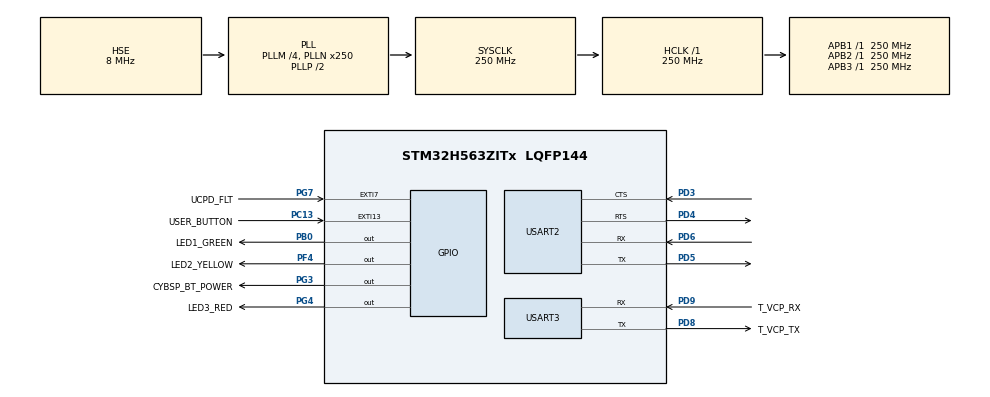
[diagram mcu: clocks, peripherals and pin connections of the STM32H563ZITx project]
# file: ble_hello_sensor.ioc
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CORTEX_M33_NS.userName=CORTEX_M33
GPDMA1.DESTINC_GPDMACH6=DMA_DINC_INCREMENTED
GPDMA1.DIRECTION_GPDMACH7=DMA_MEMORY_TO_PERIPH
GPDMA1.IPHANDLE_GPDMACH6-SIMPLEREQUEST_GPDMACH6=__NULL
GPDMA1.IPHANDLE_GPDMACH7-SIMPLEREQUEST_GPDMACH7=__NULL
GPDMA1.REQUEST_GPDMACH6=GPDMA1_REQUEST_USART2_RX
GPDMA1.REQUEST_GPDMACH7=GPDMA1_REQUEST_USART2_TX
GPDMA1.SRCINC_GPDMACH7=DMA_SINC_INCREMENTED
Infineon.AIROC-Wi-Fi-Bluetooth-STM32.1.8.0.CYBSP_BT_POWER=PG3
Infineon.AIROC-Wi-Fi-Bluetooth-STM32.1.8.0.CYBSP_BT_UART_CTS=PD3
Infineon.AIROC-Wi-Fi-Bluetooth-STM32.1.8.0.CYBSP_BT_UART_RTS=PD4
Infineon.AIROC-Wi-Fi-Bluetooth-STM32.1.8.0.CYBSP_BT_UART_RX=PD6
Infineon.AIROC-Wi-Fi-Bluetooth-STM32.1.8.0.CYBSP_BT_UART_TX=PD5
Infineon.AIROC-Wi-Fi-Bluetooth-STM32.1.8.0.ConnectivityCcWirelessJjBluetoothJjbtstack=BLEIiHARDFP
Infineon.AIROC-Wi-Fi-Bluetooth-STM32.1.8.0.ConnectivityCcWirelessJjBluetoothJjbtstackAaintegration=true
Infineon.AIROC-Wi-Fi-Bluetooth-STM32.1.8.0.ConnectivityCcWirelessJjPlatformJjabstractionAartos=FreeRTOS
Infineon.AIROC-Wi-Fi-Bluetooth-STM32.1.8.0.ConnectivityCcWirelessJjPlatformJjdevice=CYW43012
Infineon.AIROC-Wi-Fi-Bluetooth-STM32.1.8.0.ConnectivityCcWirelessJjPlatformJjmodule=MURATAAa1LV
Infineon.AIROC-Wi-Fi-Bluetooth-STM32.1.8.0.ConnectivityCcWirelessJjPlatformJjpal=true
Infineon.AIROC-Wi-Fi-Bluetooth-STM32.1.8.0.MiddlewareCcRTOSJjFreeRTOSJjcore=true
Infineon.AIROC-Wi-Fi-Bluetooth-STM32.1.8.0.MiddlewareCcRTOSJjFreeRTOSJjheap=HeapIi4
Mcu.Family=STM32H5
Mcu.Name=STM32H563ZITx
Mcu.Package=LQFP144
NVIC.GPDMA1_Channel6_IRQn=true\:7\:0\:true\:false\:true\:true\:false\:true\:true
NVIC.GPDMA1_Channel7_IRQn=true\:7\:0\:true\:false\:true\:true\:false\:true\:true
NVIC.LPTIM1_IRQn=true\:7\:0\:true\:false\:true\:false\:true\:true\:true
NVIC.PriorityGroup=NVIC_PRIORITYGROUP_4
NVIC.TIM6_IRQn=true\:15\:0\:false\:false\:true\:false\:false\:true\:true
NVIC.TimeBase=TIM6_IRQn
NVIC.TimeBaseIP=TIM6
NVIC.USART2_IRQn=true\:7\:0\:true\:false\:true\:false\:true\:true\:true
PA1.GPIO_Label=RMII_REF_CLK
PA1.GPIO_Mode=GPIO_MODE_AF_PP
PA1.GPIO_PuPd=GPIO_NOPULL
PA1.GPIO_Speed=GPIO_SPEED_FREQ_LOW
PA1.Signal=ETH_REF_CLK
PA11.GPIO_Label=USB_FS_N
PA11.Signal=USB_DM
PA12.GPIO_Label=USB_FS_P
PA12.Signal=USB_DP
PA13(JTMS/SWDIO).GPIO_Label=SWDIO
PA13(JTMS/SWDIO).Mode=Trace_Synchro_4bits_JTAG
PA13(JTMS/SWDIO).Signal=DEBUG_JTMS-SWDIO
PA14(JTCK/SWCLK).GPIO_Label=SWCLK
PA14(JTCK/SWCLK).Mode=Trace_Synchro_4bits_JTAG
PA14(JTCK/SWCLK).Signal=DEBUG_JTCK-SWCLK
PA15(JTDI).GPIO_Label=T_JTDI
PA15(JTDI).Mode=Trace_Synchro_4bits_JTAG
PA15(JTDI).Signal=DEBUG_JTDI
PA2.GPIO_Label=RMII_MDIO
PA2.GPIO_Mode=GPIO_MODE_AF_PP
PA2.GPIO_PuPd=GPIO_NOPULL
PA2.GPIO_Speed=GPIO_SPEED_FREQ_LOW
PA2.Signal=ETH_MDIO
PA4.GPIO_Label=VBUS_SENSE
PA4.Signal=ADCx_INP18
PA7.GPIO_Label=RMII_CRS_DV
PA7.GPIO_Mode=GPIO_MODE_AF_PP
PA7.GPIO_PuPd=GPIO_NOPULL
PA7.GPIO_Speed=GPIO_SPEED_FREQ_LOW
PA7.Signal=ETH_CRS_DV
PA9.GPIO_Label=UCPD_DBn
PA9.Signal=UCPD1_DB1
PB0.GPIO_Label=LED1_GREEN
PB0.Signal=GPIO_Output
PB13.GPIO_Label=UCPD_CC1
PB13.Signal=UCPD1_CC1
PB14.GPIO_Label=UCPD_CC2
PB14.Signal=UCPD1_CC2
PB15.GPIO_Label=RMII_TXD1
PB15.GPIO_Mode=GPIO_MODE_AF_PP
PB15.GPIO_PuPd=GPIO_NOPULL
PB15.GPIO_Speed=GPIO_SPEED_FREQ_LOW
PB15.Signal=ETH_TXD1
PB3(JTDO/TRACESWO).GPIO_Label=SWO
PB3(JTDO/TRACESWO).Mode=Trace_Synchro_4bits_JTAG
PB3(JTDO/TRACESWO).Signal=DEBUG_JTDO-SWO
PB6.GPIO_Label=ARD_D1_TX
PB6.Signal=LPUART1_TX
PB7.GPIO_Label=ARD_D0_RX
PB7.Signal=LPUART1_RX
PC1.GPIO_Label=RMII_MDC
PC1.GPIO_Mode=GPIO_MODE_AF_PP
PC1.GPIO_PuPd=GPIO_NOPULL
PC1.GPIO_Speed=GPIO_SPEED_FREQ_LOW
PC1.Signal=ETH_MDC
PC13.GPIO_Label=USER_BUTTON
PC13.Signal=GPXTI13
PC14-OSC32_IN(OSC32_IN).Mode=LSE-External-Oscillator
PC14-OSC32_IN(OSC32_IN).Signal=RCC_OSC32_IN
PC15-OSC32_OUT(OSC32_OUT).Mode=LSE-External-Oscillator
PC15-OSC32_OUT(OSC32_OUT).Signal=RCC_OSC32_OUT
PC4.GPIO_Label=RMII_RXD0
PC4.GPIO_Mode=GPIO_MODE_AF_PP
PC4.GPIO_PuPd=GPIO_NOPULL
PC4.GPIO_Speed=GPIO_SPEED_FREQ_LOW
PC4.Signal=ETH_RXD0
PC5.GPIO_Label=RMII_RXD1
PC5.GPIO_Mode=GPIO_MODE_AF_PP
PC5.GPIO_PuPd=GPIO_NOPULL
PC5.GPIO_Speed=GPIO_SPEED_FREQ_LOW
PC5.Signal=ETH_RXD1
PD2.Signal=SDMMC1_CMD
PD3.Mode=CTS_RTS
PD3.Signal=USART2_CTS
PD4.Mode=CTS_RTS
PD4.Signal=USART2_RTS
PD5.Mode=Asynchronous
PD5.Signal=USART2_TX
PD6.Mode=Asynchronous
PD6.Signal=USART2_RX
PD8.GPIO_Label=T_VCP_TX
PD8.Mode=Asynchronous
PD8.Signal=USART3_TX
PD9.GPIO_Label=T_VCP_RX
PD9.Mode=Asynchronous
PD9.Signal=USART3_RX
PE2.GPIO_Label=TRACE_CK
PE2.Mode=Trace_Synchro_4bits_JTAG
PE2.Signal=DEBUG_TRACECLK
PE3.GPIO_Label=TRACE_D0
PE3.Mode=Trace_Synchro_4bits_JTAG
PE3.Signal=DEBUG_TRACED0
PE4.GPIO_Label=TRACE_D1
PE4.Mode=Trace_Synchro_4bits_JTAG
PE4.Signal=DEBUG_TRACED1
PE5.GPIO_Label=TRACE_D2
PE5.Mode=Trace_Synchro_4bits_JTAG
PE5.Signal=DEBUG_TRACED2
PE6.GPIO_Label=TRACE_D3
PE6.Mode=Trace_Synchro_4bits_JTAG
PE6.Signal=DEBUG_TRACED3
PF4.GPIO_Label=LED2_YELLOW
PF4.Signal=GPIO_Output
PG11.GPIO_Label=RMII_TXT_EN
PG11.GPIO_Mode=GPIO_MODE_AF_PP
PG11.GPIO_PuPd=GPIO_NOPULL
PG11.GPIO_Speed=GPIO_SPEED_FREQ_LOW
PG11.Signal=ETH_TX_EN
PG13.GPIO_Label=RMI_TXD0
PG13.GPIO_Mode=GPIO_MODE_AF_PP
PG13.GPIO_PuPd=GPIO_NOPULL
PG13.GPIO_Speed=GPIO_SPEED_FREQ_LOW
PG13.Signal=ETH_TXD0
PG3.GPIO_Label=CYBSP_BT_POWER
PG3.Signal=GPIO_Output
PG4.GPIO_Label=LED3_RED
PG4.Signal=GPIO_Output
PG7.GPIO_Label=UCPD_FLT
PG7.Signal=GPXTI7
PH0-OSC_IN(PH0).Mode=HSE-DIG-External-Clock-Source
PH0-OSC_IN(PH0).Signal=RCC_OSC_IN
ProjectManager.HeapSize=0x8000
ProjectManager.StackSize=0x2000
ProjectManager.TargetToolchain=STM32CubeIDE
RCC.ADCFreq_Value=250000000
RCC.AHBFreq_Value=250000000
RCC.APB1Freq_Value=250000000
RCC.APB1TimFreq_Value=250000000
RCC.APB2Freq_Value=250000000
RCC.APB2TimFreq_Value=250000000
RCC.APB3Freq_Value=250000000
RCC.CSI_VALUE=4000000
RCC.CortexFreq_Value=250000000
RCC.EPOD_VALUE=8000000
RCC.HCLKFreq_Value=250000000
RCC.HSE_VALUE=8000000
RCC.HSI48_VALUE=48000000
RCC.HSIDiv=RCC_HSI_DIV1
RCC.HSI_VALUE=64000000
RCC.LPTIM1CLockSelection=RCC_LPTIM1CLKSOURCE_LSE
RCC.LSIRC_VALUE=32000
RCC.PLL1Q=10
RCC.PLLM=4
RCC.PLLN=250
RCC.PLLSourceVirtual=RCC_PLL1_SOURCE_HSE
RCC.SYSCLKFreq_VALUE=250000000
RCC.SYSCLKSource=RCC_SYSCLKSOURCE_PLLCLK
RCC.USART2CLockSelection=RCC_USART2CLKSOURCE_HSI
RCC.USBFreq_Value=48000000
RCC.VCOOutputFreq_Value=500000000
SH.ADCx_INP18.0=ADC1_INP18
USART2.FIFOMode=FIFOMODE_ENABLE
USART2.VirtualMode=VM_ASYNC
USART2.VirtualMode-Asynchronous=VM_ASYNC
USART3.FIFOMode=FIFOMODE_ENABLE
USART3.OverSampling=UART_OVERSAMPLING_8
USART3.RxPinLevelInvertParam=ADVFEATURE_RXINV_DISABLE
USART3.VirtualMode=VM_ASYNC
USART3.VirtualMode-Asynchronous=VM_ASYNC
VP_GPDMA1_VS_GPDMACH6.Mode=SIMPLEREQUEST_GPDMACH6
VP_GPDMA1_VS_GPDMACH7.Mode=SIMPLEREQUEST_GPDMACH7
VP_ICACHE_VS_ICACHE.Mode=DefaultMode
VP_Infineon.AIROC-Wi-Fi-Bluetooth-STM32_VS_RTOSJjMiddleware_10.3.1_1.8.0.Mode=RTOSJjMiddleware
VP_Infineon.AIROC-Wi-Fi-Bluetooth-STM32_VS_WirelessJjConnectivity_1.8.0_1.8.0.Mode=WirelessJjConnectivity
VP_LPTIM1_VS_LPTIM_counterModeInternalClock.Mode=Counts__internal_clock_event_00
VP_PWR_VS_SECSignals.Mode=Security/Privilege
VP_SYS_VS_tim6.Mode=TIM6
board=NUCLEO-H563ZI

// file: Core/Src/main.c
/* USER CODE BEGIN Header */
/**
  ******************************************************************************
  * @file           : main.c
  * @brief          : Main program body
  ******************************************************************************
  * @attention
  *
  * Copyright (c) 2023 STMicroelectronics.
  * All rights reserved.
  *
  * This software is licensed under terms that can be found in the LICENSE file
  * in the root directory of this software component.
  * If no LICENSE file comes with this software, it is provided AS-IS.
  *
  ******************************************************************************
  */
/* USER CODE END Header */
#include "main.h"

/* USER CODE BEGIN Includes */
#include "cmsis_os2.h"
#include "cyhal_sdio.h"
#include "stm32_cyhal_sdio_ex.h"
#include "stm32_cyhal_gpio_ex.h"

#include "wifi_bt_if.h"

#include "cybsp.h"
#include "cyhal.h"
#include "cyabs_rtos.h"

#include "wiced_bt_stack.h"
#include "wiced_memory.h"
#include "wiced_bt_dev.h"

#include <app_platform_cfg.h>
#include "cybt_platform_trace.h"

#include "cy_utils.h"
#include "stdio.h"
/* USER CODE END Includes */

LPTIM_HandleTypeDef hlptim1;

UART_HandleTypeDef huart2;
UART_HandleTypeDef huart3;
DMA_HandleTypeDef handle_GPDMA1_Channel7;
DMA_HandleTypeDef handle_GPDMA1_Channel6;

/* USER CODE BEGIN PV */
extern void application_start( void );
/* Definitions for defaultTask */
osThreadId_t defaultTaskHandle;
const osThreadAttr_t defaultTask_attributes = {
  .name = "defaultTask",
  .priority = (osPriority_t) osPriorityNormal,
  .stack_size = 512 * 4
};
void default_task(void *argument);

/* USER CODE END PV */

void SystemClock_Config(void);
static void MX_GPIO_Init(void);
static void MX_GPDMA1_Init(void);
static void MX_ICACHE_Init(void);
static void MX_USART2_UART_Init(void);
static void MX_USART3_UART_Init(void);
static void MX_LPTIM1_Init(void);

/* USER CODE BEGIN 0 */

#ifdef __GNUC__
    /* With GCC/RAISONANCE, small printf (option LD Linker->Libraries->Small printf
       set to 'Yes') calls __io_putchar() */
    /***************************************************************************
    * Function Name: __io_putchar (GCC)
    ***************************************************************************/
    int __io_putchar(int ch)
    {
      HAL_UART_Transmit(&huart3, (uint8_t *)&ch, 1, 0xFFFF);
      return ch;
    }

#elif defined (__ICCARM__) /* IAR */
    #include <yfuns.h>

    /***************************************************************************
    * Function Name: __write (IAR)
    ***************************************************************************/
    size_t __write(int handle, const unsigned char * buffer, size_t size)
    {
        size_t nChars = 0;
        /* This template only writes to "standard out", for all other file
         * handles it returns failure. */
        if (handle != _LLIO_STDOUT)
        {
            return (_LLIO_ERROR);
        }
        if (buffer != NULL)
        {
            for (/* Empty */; nChars < size; ++nChars)
            {
                HAL_UART_Transmit(&huart1, (uint8_t *)buffer, 1, 0xFFFF);
                ++buffer;
            }
        }
        return (nChars);
    }
#endif /* __GNUC__ */

/* USER CODE END 0 */

int main(void)
{

  /* MCU Configuration--------------------------------------------------------*/

  /* Reset of all peripherals, Initializes the Flash interface and the Systick. */
  HAL_Init();

  /* Configure the system clock */
  SystemClock_Config();

  /* Initialize all configured peripherals */
  MX_GPIO_Init();
  MX_GPDMA1_Init();
  MX_ICACHE_Init();
  MX_USART2_UART_Init();
  MX_USART3_UART_Init();
  MX_LPTIM1_Init();
  /* USER CODE BEGIN 2 */

  /* PAL init */
  stm32_cypal_bt_init(&huart2, &hlptim1);

  /* configure BLE Platform */
  cybt_platform_config_init(&bt_platform_cfg_settings);

  /* Start BLE application */
  application_start();
  /* Init scheduler */
  osKernelInitialize();
  /* creation of defaultTask */
  defaultTaskHandle = osThreadNew(default_task, NULL, &defaultTask_attributes);
  /* Start scheduler */
  osKernelStart();
  /* USER CODE END 2 */

  /* Infinite loop */
  while (1)
  {

  }
}

void SystemClock_Config(void)
{
  RCC_OscInitTypeDef RCC_OscInitStruct = {0};
  RCC_ClkInitTypeDef RCC_ClkInitStruct = {0};

  /** Configure the main internal regulator output voltage
  */
  __HAL_PWR_VOLTAGESCALING_CONFIG(PWR_REGULATOR_VOLTAGE_SCALE0);

  while(!__HAL_PWR_GET_FLAG(PWR_FLAG_VOSRDY)) {}

  /** Configure LSE Drive Capability
  */
  HAL_PWR_EnableBkUpAccess();
  __HAL_RCC_LSEDRIVE_CONFIG(RCC_LSEDRIVE_LOW);

  /** Initializes the RCC Oscillators according to the specified parameters
  * in the RCC_OscInitTypeDef structure.
  */
  RCC_OscInitStruct.OscillatorType = RCC_OSCILLATORTYPE_HSE|RCC_OSCILLATORTYPE_LSE;
  RCC_OscInitStruct.HSEState = RCC_HSE_BYPASS_DIGITAL;
  RCC_OscInitStruct.LSEState = RCC_LSE_ON;
  RCC_OscInitStruct.PLL.PLLState = RCC_PLL_ON;
  RCC_OscInitStruct.PLL.PLLSource = RCC_PLL1_SOURCE_HSE;
  RCC_OscInitStruct.PLL.PLLM = 4;
  RCC_OscInitStruct.PLL.PLLN = 250;
  RCC_OscInitStruct.PLL.PLLP = 2;
  RCC_OscInitStruct.PLL.PLLQ = 10;
  RCC_OscInitStruct.PLL.PLLR = 2;
  RCC_OscInitStruct.PLL.PLLRGE = RCC_PLL1_VCIRANGE_1;
  RCC_OscInitStruct.PLL.PLLVCOSEL = RCC_PLL1_VCORANGE_WIDE;
  RCC_OscInitStruct.PLL.PLLFRACN = 0;
  if (HAL_RCC_OscConfig(&RCC_OscInitStruct) != HAL_OK)
  {
    Error_Handler();
  }

  /** Initializes the CPU, AHB and APB buses clocks
  */
  RCC_ClkInitStruct.ClockType = RCC_CLOCKTYPE_HCLK|RCC_CLOCKTYPE_SYSCLK
                              |RCC_CLOCKTYPE_PCLK1|RCC_CLOCKTYPE_PCLK2
                              |RCC_CLOCKTYPE_PCLK3;
  RCC_ClkInitStruct.SYSCLKSource = RCC_SYSCLKSOURCE_PLLCLK;
  RCC_ClkInitStruct.AHBCLKDivider = RCC_SYSCLK_DIV1;
  RCC_ClkInitStruct.APB1CLKDivider = RCC_HCLK_DIV1;
  RCC_ClkInitStruct.APB2CLKDivider = RCC_HCLK_DIV1;
  RCC_ClkInitStruct.APB3CLKDivider = RCC_HCLK_DIV1;

  if (HAL_RCC_ClockConfig(&RCC_ClkInitStruct, FLASH_LATENCY_5) != HAL_OK)
  {
    Error_Handler();
  }
}

static void MX_GPDMA1_Init(void)
{

  /* Peripheral clock enable */
  __HAL_RCC_GPDMA1_CLK_ENABLE();

  /* GPDMA1 interrupt Init */
    HAL_NVIC_SetPriority(GPDMA1_Channel6_IRQn, 7, 0);
    HAL_NVIC_EnableIRQ(GPDMA1_Channel6_IRQn);
    HAL_NVIC_SetPriority(GPDMA1_Channel7_IRQn, 7, 0);
    HAL_NVIC_EnableIRQ(GPDMA1_Channel7_IRQn);

}

static void MX_ICACHE_Init(void)
{

  /** Enable instruction cache (default 2-ways set associative cache)
  */
  if (HAL_ICACHE_Enable() != HAL_OK)
  {
    Error_Handler();
  }

}

static void MX_LPTIM1_Init(void)
{

  hlptim1.Instance = LPTIM1;
  hlptim1.Init.Clock.Source = LPTIM_CLOCKSOURCE_APBCLOCK_LPOSC;
  hlptim1.Init.Clock.Prescaler = LPTIM_PRESCALER_DIV1;
  hlptim1.Init.Trigger.Source = LPTIM_TRIGSOURCE_SOFTWARE;
  hlptim1.Init.Period = 65535;
  hlptim1.Init.UpdateMode = LPTIM_UPDATE_IMMEDIATE;
  hlptim1.Init.CounterSource = LPTIM_COUNTERSOURCE_INTERNAL;
  hlptim1.Init.Input1Source = LPTIM_INPUT1SOURCE_GPIO;
  hlptim1.Init.Input2Source = LPTIM_INPUT2SOURCE_GPIO;
  hlptim1.Init.RepetitionCounter = 0;
  if (HAL_LPTIM_Init(&hlptim1) != HAL_OK)
  {
    Error_Handler();
  }

}

static void MX_USART2_UART_Init(void)
{

  huart2.Instance = USART2;
  huart2.Init.BaudRate = 115200;
  huart2.Init.WordLength = UART_WORDLENGTH_8B;
  huart2.Init.StopBits = UART_STOPBITS_1;
  huart2.Init.Parity = UART_PARITY_NONE;
  huart2.Init.Mode = UART_MODE_TX_RX;
  huart2.Init.HwFlowCtl = UART_HWCONTROL_RTS_CTS;
  huart2.Init.OverSampling = UART_OVERSAMPLING_16;
  huart2.Init.OneBitSampling = UART_ONE_BIT_SAMPLE_DISABLE;
  huart2.Init.ClockPrescaler = UART_PRESCALER_DIV1;
  huart2.AdvancedInit.AdvFeatureInit = UART_ADVFEATURE_NO_INIT;
  if (HAL_UART_Init(&huart2) != HAL_OK)
  {
    Error_Handler();
  }
  if (HAL_UARTEx_SetTxFifoThreshold(&huart2, UART_TXFIFO_THRESHOLD_1_8) != HAL_OK)
  {
    Error_Handler();
  }
  if (HAL_UARTEx_SetRxFifoThreshold(&huart2, UART_RXFIFO_THRESHOLD_1_8) != HAL_OK)
  {
    Error_Handler();
  }
  if (HAL_UARTEx_EnableFifoMode(&huart2) != HAL_OK)
  {
    Error_Handler();
  }

}

static void MX_USART3_UART_Init(void)
{

  huart3.Instance = USART3;
  huart3.Init.BaudRate = 115200;
  huart3.Init.WordLength = UART_WORDLENGTH_8B;
  huart3.Init.StopBits = UART_STOPBITS_1;
  huart3.Init.Parity = UART_PARITY_NONE;
  huart3.Init.Mode = UART_MODE_TX_RX;
  huart3.Init.HwFlowCtl = UART_HWCONTROL_NONE;
  huart3.Init.OverSampling = UART_OVERSAMPLING_8;
  huart3.Init.OneBitSampling = UART_ONE_BIT_SAMPLE_DISABLE;
  huart3.Init.ClockPrescaler = UART_PRESCALER_DIV1;
  huart3.AdvancedInit.AdvFeatureInit = UART_ADVFEATURE_NO_INIT;
  if (HAL_UART_Init(&huart3) != HAL_OK)
  {
    Error_Handler();
  }
  if (HAL_UARTEx_SetTxFifoThreshold(&huart3, UART_TXFIFO_THRESHOLD_1_8) != HAL_OK)
  {
    Error_Handler();
  }
  if (HAL_UARTEx_SetRxFifoThreshold(&huart3, UART_RXFIFO_THRESHOLD_1_8) != HAL_OK)
  {
    Error_Handler();
  }
  if (HAL_UARTEx_EnableFifoMode(&huart3) != HAL_OK)
  {
    Error_Handler();
  }

}

static void MX_GPIO_Init(void)
{
  GPIO_InitTypeDef GPIO_InitStruct = {0};

  /* GPIO Ports Clock Enable */
  __HAL_RCC_GPIOE_CLK_ENABLE();
  __HAL_RCC_GPIOC_CLK_ENABLE();
  __HAL_RCC_GPIOF_CLK_ENABLE();
  __HAL_RCC_GPIOH_CLK_ENABLE();
  __HAL_RCC_GPIOA_CLK_ENABLE();
  __HAL_RCC_GPIOB_CLK_ENABLE();
  __HAL_RCC_GPIOD_CLK_ENABLE();
  __HAL_RCC_GPIOG_CLK_ENABLE();

  /*Configure GPIO pin Output Level */
  HAL_GPIO_WritePin(LED2_YELLOW_GPIO_Port, LED2_YELLOW_Pin, GPIO_PIN_RESET);

  /*Configure GPIO pin Output Level */
  HAL_GPIO_WritePin(LED1_GREEN_GPIO_Port, LED1_GREEN_Pin, GPIO_PIN_RESET);

  /*Configure GPIO pin Output Level */
  HAL_GPIO_WritePin(GPIOG, CYBSP_BT_POWER_Pin|LED3_RED_Pin, GPIO_PIN_RESET);

  /*Configure GPIO pin : USER_BUTTON_Pin */
  GPIO_InitStruct.Pin = USER_BUTTON_Pin;
  GPIO_InitStruct.Mode = GPIO_MODE_IT_RISING;
  GPIO_InitStruct.Pull = GPIO_NOPULL;
  HAL_GPIO_Init(USER_BUTTON_GPIO_Port, &GPIO_InitStruct);

  /*Configure GPIO pin : LED2_YELLOW_Pin */
  GPIO_InitStruct.Pin = LED2_YELLOW_Pin;
  GPIO_InitStruct.Mode = GPIO_MODE_OUTPUT_PP;
  GPIO_InitStruct.Pull = GPIO_NOPULL;
  GPIO_InitStruct.Speed = GPIO_SPEED_FREQ_LOW;
  HAL_GPIO_Init(LED2_YELLOW_GPIO_Port, &GPIO_InitStruct);

  /*Configure GPIO pins : RMII_MDC_Pin RMII_RXD0_Pin RMII_RXD1_Pin */
  GPIO_InitStruct.Pin = RMII_MDC_Pin|RMII_RXD0_Pin|RMII_RXD1_Pin;
  GPIO_InitStruct.Mode = GPIO_MODE_AF_PP;
  GPIO_InitStruct.Pull = GPIO_NOPULL;
  GPIO_InitStruct.Speed = GPIO_SPEED_FREQ_LOW;
  GPIO_InitStruct.Alternate = GPIO_AF11_ETH;
  HAL_GPIO_Init(GPIOC, &GPIO_InitStruct);

  /*Configure GPIO pins : RMII_REF_CLK_Pin RMII_MDIO_Pin RMII_CRS_DV_Pin */
  GPIO_InitStruct.Pin = RMII_REF_CLK_Pin|RMII_MDIO_Pin|RMII_CRS_DV_Pin;
  GPIO_InitStruct.Mode = GPIO_MODE_AF_PP;
  GPIO_InitStruct.Pull = GPIO_NOPULL;
  GPIO_InitStruct.Speed = GPIO_SPEED_FREQ_LOW;
  GPIO_InitStruct.Alternate = GPIO_AF11_ETH;
  HAL_GPIO_Init(GPIOA, &GPIO_InitStruct);

  /*Configure GPIO pin : VBUS_SENSE_Pin */
  GPIO_InitStruct.Pin = VBUS_SENSE_Pin;
  GPIO_InitStruct.Mode = GPIO_MODE_ANALOG;
  GPIO_InitStruct.Pull = GPIO_NOPULL;
  HAL_GPIO_Init(VBUS_SENSE_GPIO_Port, &GPIO_InitStruct);

  /*Configure GPIO pin : LED1_GREEN_Pin */
  GPIO_InitStruct.Pin = LED1_GREEN_Pin;
  GPIO_InitStruct.Mode = GPIO_MODE_OUTPUT_PP;
  GPIO_InitStruct.Pull = GPIO_NOPULL;
  GPIO_InitStruct.Speed = GPIO_SPEED_FREQ_LOW;
  HAL_GPIO_Init(LED1_GREEN_GPIO_Port, &GPIO_InitStruct);

  /*Configure GPIO pins : UCPD_CC1_Pin UCPD_CC2_Pin */
  GPIO_InitStruct.Pin = UCPD_CC1_Pin|UCPD_CC2_Pin;
  GPIO_InitStruct.Mode = GPIO_MODE_ANALOG;
  GPIO_InitStruct.Pull = GPIO_NOPULL;
  HAL_GPIO_Init(GPIOB, &GPIO_InitStruct);

  /*Configure GPIO pin : RMII_TXD1_Pin */
  GPIO_InitStruct.Pin = RMII_TXD1_Pin;
  GPIO_InitStruct.Mode = GPIO_MODE_AF_PP;
  GPIO_InitStruct.Pull = GPIO_NOPULL;
  GPIO_InitStruct.Speed = GPIO_SPEED_FREQ_LOW;
  GPIO_InitStruct.Alternate = GPIO_AF11_ETH;
  HAL_GPIO_Init(RMII_TXD1_GPIO_Port, &GPIO_InitStruct);

  /*Configure GPIO pins : CYBSP_BT_POWER_Pin LED3_RED_Pin */
  GPIO_InitStruct.Pin = CYBSP_BT_POWER_Pin|LED3_RED_Pin;
  GPIO_InitStruct.Mode = GPIO_MODE_OUTPUT_PP;
  GPIO_InitStruct.Pull = GPIO_NOPULL;
  GPIO_InitStruct.Speed = GPIO_SPEED_FREQ_LOW;
  HAL_GPIO_Init(GPIOG, &GPIO_InitStruct);

  /*Configure GPIO pin : UCPD_FLT_Pin */
  GPIO_InitStruct.Pin = UCPD_FLT_Pin;
  GPIO_InitStruct.Mode = GPIO_MODE_IT_RISING;
  GPIO_InitStruct.Pull = GPIO_NOPULL;
  HAL_GPIO_Init(UCPD_FLT_GPIO_Port, &GPIO_InitStruct);

  /*Configure GPIO pins : USB_FS_N_Pin USB_FS_P_Pin */
  GPIO_InitStruct.Pin = USB_FS_N_Pin|USB_FS_P_Pin;
  GPIO_InitStruct.Mode = GPIO_MODE_AF_PP;
  GPIO_InitStruct.Pull = GPIO_NOPULL;
  GPIO_InitStruct.Speed = GPIO_SPEED_FREQ_LOW;
  GPIO_InitStruct.Alternate = GPIO_AF10_USB;
  HAL_GPIO_Init(GPIOA, &GPIO_InitStruct);

  /*Configure GPIO pin : PD2 */
  GPIO_InitStruct.Pin = GPIO_PIN_2;
  GPIO_InitStruct.Mode = GPIO_MODE_AF_PP;
  GPIO_InitStruct.Pull = GPIO_NOPULL;
  GPIO_InitStruct.Speed = GPIO_SPEED_FREQ_HIGH;
  GPIO_InitStruct.Alternate = GPIO_AF12_SDMMC1;
  HAL_GPIO_Init(GPIOD, &GPIO_InitStruct);

  /*Configure GPIO pins : RMII_TXT_EN_Pin RMI_TXD0_Pin */
  GPIO_InitStruct.Pin = RMII_TXT_EN_Pin|RMI_TXD0_Pin;
  GPIO_InitStruct.Mode = GPIO_MODE_AF_PP;
  GPIO_InitStruct.Pull = GPIO_NOPULL;
  GPIO_InitStruct.Speed = GPIO_SPEED_FREQ_LOW;
  GPIO_InitStruct.Alternate = GPIO_AF11_ETH;
  HAL_GPIO_Init(GPIOG, &GPIO_InitStruct);

  /*Configure GPIO pins : ARD_D1_TX_Pin ARD_D0_RX_Pin */
  GPIO_InitStruct.Pin = ARD_D1_TX_Pin|ARD_D0_RX_Pin;
  GPIO_InitStruct.Mode = GPIO_MODE_AF_PP;
  GPIO_InitStruct.Pull = GPIO_NOPULL;
  GPIO_InitStruct.Speed = GPIO_SPEED_FREQ_LOW;
  GPIO_InitStruct.Alternate = GPIO_AF8_LPUART1;
  HAL_GPIO_Init(GPIOB, &GPIO_InitStruct);

}

/* USER CODE BEGIN 4 */

__weak void default_task(void *argument)
{
  /* Infinite loop */
  for(;;)
  {
    osDelay(1);
  }
}
/* USER CODE END 4 */

void HAL_TIM_PeriodElapsedCallback(TIM_HandleTypeDef *htim)
{
  if (htim->Instance == TIM6) {
    HAL_IncTick();
  }
}

void Error_Handler(void)
{
  __disable_irq();
  while (1)
  {
  }
}
